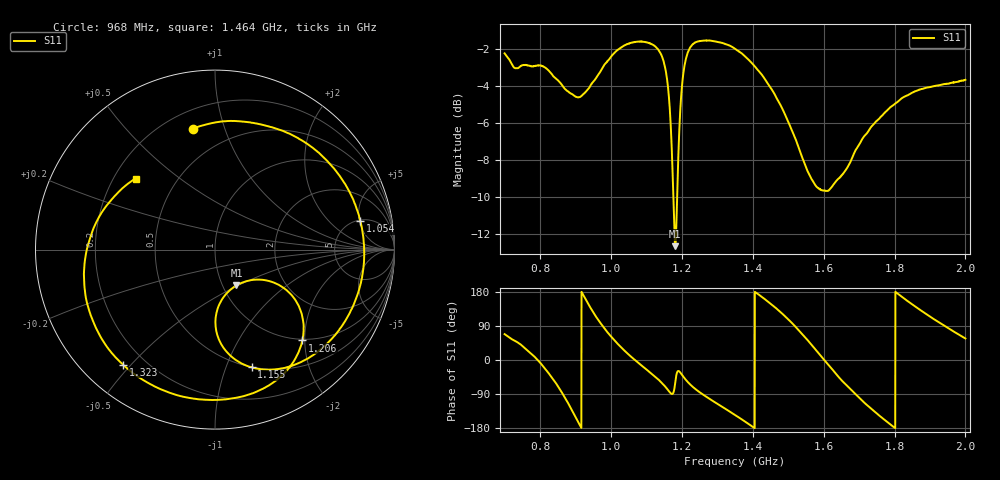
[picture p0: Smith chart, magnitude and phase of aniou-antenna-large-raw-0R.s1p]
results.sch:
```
<Qucs Schematic 0.0.20>
<Properties>
  <View=-622,-140,1389,944,0.909091,349,0>
  <Grid=10,10,1>
  <DataSet=template.dat>
  <DataDisplay=template.dpl>
  <OpenDisplay=1>
  <Script=template.m>
  <RunScript=0>
  <showFrame=0>
  <FrameText0=Title>
  <FrameText1=Drawn By:>
  <FrameText2=Date:>
  <FrameText3=Revision:>
</Properties>
<Symbol>
</Symbol>
<Components>
<GND * 5 610 330 0 0 0 0>
<Eqn Eqn1 1 50 410 -31 15 0 0 "S11_dB=dB(S[1,1])" 1 "yes" 0>
<GND * 5 320 250 0 0 0 0>
<GND * 5 240 270 0 0 0 0>
<GND * 5 420 300 0 0 0 0>
<GND * 5 210 300 0 0 0 0>
<.SP SP1 1 10 10 0 63 0 0 "lin" 1 "750 MHz" 1 "2 GHz" 1 "1000" 1 "no" 0 "1" 0 "2" 0 "no" 0 "no" 0>
<GND * 5 450 270 0 0 0 0>
<Pac P1 1 -90 270 18 -26 0 1 "1" 1 "50 Ohm" 1 "0 dBm" 0 "1 GHz" 0 "26.85" 0>
<GND * 5 -90 300 0 0 0 0>
<GND * 5 100 250 0 0 0 0>
<SPICE TEMPLATE_6_0 1 100 220 -26 -112 0 0 "/home/zamza/SharedFolder/qucs-discrete-matching/components/L/S-Parameter_7447840027 (rev20a).s2p" 1 "_net1,_net2" 0 "yes" 0 "none" 0>
<SPfile TEMPLATE_5_0 1 210 270 -812 -26 0 1 "/home/zamza/SharedFolder/qucs-discrete-matching/components/L/S-Parameter_7447840027 (rev20a).s2p" 1 "rectangular" 0 "linear" 0 "open" 0 "2" 0>
<SPICE TEMPLATE_4_0 1 320 220 -26 -112 0 0 "/home/zamza/SharedFolder/qucs-discrete-matching/components/L/S-Parameter_7447840027 (rev20a).s2p" 1 "_net1,_net2" 0 "yes" 0 "none" 0>
<SPfile TEMPLATE_3_0 1 420 270 -812 -26 0 1 "/home/zamza/SharedFolder/qucs-discrete-matching/components/L/S-Parameter_7447840110 (rev20a).s2p" 1 "rectangular" 0 "linear" 0 "open" 0 "2" 0>
<SPfile X1_0 1 610 220 -26 -59 0 0 "/home/zamza/SharedFolder/qucs-discrete-matching/antenna_data/aniou-antenna-large-raw-0R.s1p" 1 "rectangular" 0 "linear" 0 "open" 0 "1" 0>
<GND * 5 610 680 0 0 0 0>
<Eqn Eqn2 1 50 760 -31 15 0 0 "S22_dB=dB(S[2,2])" 1 "yes" 0>
<GND * 5 320 600 0 0 0 0>
<GND * 5 240 620 0 0 0 0>
<GND * 5 420 650 0 0 0 0>
<GND * 5 210 650 0 0 0 0>
<GND * 5 450 620 0 0 0 0>
<Pac P2 1 -90 620 18 -26 0 1 "2" 1 "50 Ohm" 1 "0 dBm" 0 "1 GHz" 0 "26.85" 0>
<GND * 5 -90 650 0 0 0 0>
<GND * 5 100 600 0 0 0 0>
<SPICE TEMPLATE_6_1 1 100 570 -26 -112 0 0 "/home/zamza/SharedFolder/qucs-discrete-matching/components/L/S-Parameter_7447840027 (rev20a).s2p" 1 "_net1,_net2" 0 "yes" 0 "none" 0>
<SPfile TEMPLATE_5_1 1 210 620 -812 -26 0 1 "/home/zamza/SharedFolder/qucs-discrete-matching/components/L/S-Parameter_7447840027 (rev20a).s2p" 1 "rectangular" 0 "linear" 0 "open" 0 "2" 0>
<SPICE TEMPLATE_4_1 1 320 570 -26 -112 0 0 "/home/zamza/SharedFolder/qucs-discrete-matching/components/L/S-Parameter_7447840027 (rev20a).s2p" 1 "_net1,_net2" 0 "yes" 0 "none" 0>
<SPfile TEMPLATE_3_1 1 420 620 -812 -26 0 1 "/home/zamza/SharedFolder/qucs-discrete-matching/components/L/S-Parameter_7447840115 (rev20a).s2p" 1 "rectangular" 0 "linear" 0 "open" 0 "2" 0>
<SPfile X1_1 1 610 570 -26 -59 0 0 "/home/zamza/SharedFolder/qucs-discrete-matching/antenna_data/aniou-antenna-large-raw-0R.s1p" 1 "rectangular" 0 "linear" 0 "open" 0 "1" 0>
<GND * 5 610 1030 0 0 0 0>
<Eqn Eqn3 1 50 1110 -31 15 0 0 "S33_dB=dB(S[3,3])" 1 "yes" 0>
<GND * 5 320 950 0 0 0 0>
<GND * 5 240 970 0 0 0 0>
<GND * 5 420 1000 0 0 0 0>
<GND * 5 210 1000 0 0 0 0>
<GND * 5 450 970 0 0 0 0>
<Pac P3 1 -90 970 18 -26 0 1 "3" 1 "50 Ohm" 1 "0 dBm" 0 "1 GHz" 0 "26.85" 0>
<GND * 5 -90 1000 0 0 0 0>
<GND * 5 100 950 0 0 0 0>
<SPICE TEMPLATE_6_2 1 100 920 -26 -112 0 0 "/home/zamza/SharedFolder/qucs-discrete-matching/components/L/S-Parameter_7447840027 (rev20a).s2p" 1 "_net1,_net2" 0 "yes" 0 "none" 0>
<SPfile TEMPLATE_5_2 1 210 970 -812 -26 0 1 "/home/zamza/SharedFolder/qucs-discrete-matching/components/L/S-Parameter_7447840027 (rev20a).s2p" 1 "rectangular" 0 "linear" 0 "open" 0 "2" 0>
<SPICE TEMPLATE_4_2 1 320 920 -26 -112 0 0 "/home/zamza/SharedFolder/qucs-discrete-matching/components/L/S-Parameter_7447840027 (rev20a).s2p" 1 "_net1,_net2" 0 "yes" 0 "none" 0>
<SPfile TEMPLATE_3_2 1 420 970 -812 -26 0 1 "/home/zamza/SharedFolder/qucs-discrete-matching/components/L/S-Parameter_7447840027 (rev20a).s2p" 1 "rectangular" 0 "linear" 0 "open" 0 "2" 0>
<SPfile X1_2 1 610 920 -26 -59 0 0 "/home/zamza/SharedFolder/qucs-discrete-matching/antenna_data/aniou-antenna-large-raw-0R.s1p" 1 "rectangular" 0 "linear" 0 "open" 0 "1" 0>
<GND * 5 610 1380 0 0 0 0>
<Eqn Eqn4 1 50 1460 -31 15 0 0 "S44_dB=dB(S[4,4])" 1 "yes" 0>
<GND * 5 320 1300 0 0 0 0>
<GND * 5 240 1320 0 0 0 0>
<GND * 5 420 1350 0 0 0 0>
<GND * 5 210 1350 0 0 0 0>
<GND * 5 450 1320 0 0 0 0>
<Pac P4 1 -90 1320 18 -26 0 1 "4" 1 "50 Ohm" 1 "0 dBm" 0 "1 GHz" 0 "26.85" 0>
<GND * 5 -90 1350 0 0 0 0>
<GND * 5 100 1300 0 0 0 0>
<SPICE TEMPLATE_6_3 1 100 1270 -26 -112 0 0 "/home/zamza/SharedFolder/qucs-discrete-matching/components/L/S-Parameter_7447840027 (rev20a).s2p" 1 "_net1,_net2" 0 "yes" 0 "none" 0>
<SPfile TEMPLATE_5_3 1 210 1320 -812 -26 0 1 "/home/zamza/SharedFolder/qucs-discrete-matching/components/L/S-Parameter_7447840027 (rev20a).s2p" 1 "rectangular" 0 "linear" 0 "open" 0 "2" 0>
<SPICE TEMPLATE_4_3 1 320 1270 -26 -112 0 0 "/home/zamza/SharedFolder/qucs-discrete-matching/components/L/S-Parameter_7447840027 (rev20a).s2p" 1 "_net1,_net2" 0 "yes" 0 "none" 0>
<SPfile TEMPLATE_3_3 1 420 1320 -812 -26 0 1 "/home/zamza/SharedFolder/qucs-discrete-matching/components/L/S-Parameter_7447840118 (rev20a).s2p" 1 "rectangular" 0 "linear" 0 "open" 0 "2" 0>
<SPfile X1_3 1 610 1270 -26 -59 0 0 "/home/zamza/SharedFolder/qucs-discrete-matching/antenna_data/aniou-antenna-large-raw-0R.s1p" 1 "rectangular" 0 "linear" 0 "open" 0 "1" 0>
<GND * 5 610 1730 0 0 0 0>
<Eqn Eqn5 1 50 1810 -31 15 0 0 "S55_dB=dB(S[5,5])" 1 "yes" 0>
<GND * 5 320 1650 0 0 0 0>
<GND * 5 240 1670 0 0 0 0>
<GND * 5 420 1700 0 0 0 0>
<GND * 5 210 1700 0 0 0 0>
<GND * 5 450 1670 0 0 0 0>
<Pac P5 1 -90 1670 18 -26 0 1 "5" 1 "50 Ohm" 1 "0 dBm" 0 "1 GHz" 0 "26.85" 0>
<GND * 5 -90 1700 0 0 0 0>
<GND * 5 100 1650 0 0 0 0>
<SPICE TEMPLATE_6_4 1 100 1620 -26 -112 0 0 "/home/zamza/SharedFolder/qucs-discrete-matching/components/L/S-Parameter_7447840027 (rev20a).s2p" 1 "_net1,_net2" 0 "yes" 0 "none" 0>
<SPfile TEMPLATE_5_4 1 210 1670 -812 -26 0 1 "/home/zamza/SharedFolder/qucs-discrete-matching/components/L/S-Parameter_7447840027 (rev20a).s2p" 1 "rectangular" 0 "linear" 0 "open" 0 "2" 0>
<SPICE TEMPLATE_4_4 1 320 1620 -26 -112 0 0 "/home/zamza/SharedFolder/qucs-discrete-matching/components/L/S-Parameter_7447840027 (rev20a).s2p" 1 "_net1,_net2" 0 "yes" 0 "none" 0>
<SPfile TEMPLATE_3_4 1 420 1670 -812 -26 0 1 "/home/zamza/SharedFolder/qucs-discrete-matching/components/L/S-Parameter_7447840010 (rev20a).s2p" 1 "rectangular" 0 "linear" 0 "open" 0 "2" 0>
<SPfile X1_4 1 610 1620 -26 -59 0 0 "/home/zamza/SharedFolder/qucs-discrete-matching/antenna_data/aniou-antenna-large-raw-0R.s1p" 1 "rectangular" 0 "linear" 0 "open" 0 "1" 0>
</Components>
<Wires>
<350 220 420 220 "" 0 0 0 "">
<210 220 290 220 "" 0 0 0 "">
<420 220 580 220 "" 0 0 0 "">
<610 250 610 330 "" 0 0 0 "">
<210 220 210 240 "" 0 0 0 "">
<420 220 420 240 "" 0 0 0 "">
<130 220 210 220 "" 0 0 0 "">
<-90 220 70 220 "" 0 0 0 "">
<-90 220 -90 240 "" 0 0 0 "">
<350 570 420 570 "" 0 0 0 "">
<210 570 290 570 "" 0 0 0 "">
<420 570 580 570 "" 0 0 0 "">
<610 600 610 680 "" 0 0 0 "">
<210 570 210 590 "" 0 0 0 "">
<420 570 420 590 "" 0 0 0 "">
<130 570 210 570 "" 0 0 0 "">
<-90 570 70 570 "" 0 0 0 "">
<-90 570 -90 590 "" 0 0 0 "">
<350 920 420 920 "" 0 0 0 "">
<210 920 290 920 "" 0 0 0 "">
<420 920 580 920 "" 0 0 0 "">
<610 950 610 1030 "" 0 0 0 "">
<210 920 210 940 "" 0 0 0 "">
<420 920 420 940 "" 0 0 0 "">
<130 920 210 920 "" 0 0 0 "">
<-90 920 70 920 "" 0 0 0 "">
<-90 920 -90 940 "" 0 0 0 "">
<350 1270 420 1270 "" 0 0 0 "">
<210 1270 290 1270 "" 0 0 0 "">
<420 1270 580 1270 "" 0 0 0 "">
<610 1300 610 1380 "" 0 0 0 "">
<210 1270 210 1290 "" 0 0 0 "">
<420 1270 420 1290 "" 0 0 0 "">
<130 1270 210 1270 "" 0 0 0 "">
<-90 1270 70 1270 "" 0 0 0 "">
<-90 1270 -90 1290 "" 0 0 0 "">
<350 1620 420 1620 "" 0 0 0 "">
<210 1620 290 1620 "" 0 0 0 "">
<420 1620 580 1620 "" 0 0 0 "">
<610 1650 610 1730 "" 0 0 0 "">
<210 1620 210 1640 "" 0 0 0 "">
<420 1620 420 1640 "" 0 0 0 "">
<130 1620 210 1620 "" 0 0 0 "">
<-90 1620 70 1620 "" 0 0 0 "">
<-90 1620 -90 1640 "" 0 0 0 "">
</Wires>
<Diagrams>
  <Rect 850 682 444 322 3 #c0c0c0 1 00 1 0 0.2 1 1 -0.1 0.5 1.1 1 -0.1 0.5 1.1 315 0 225 "" "" "" "">
	<"S11_dB" #0000ff 0 3 0 0 0>
	  <Mkr 9.6021e+08 148 -401 3 0 0>
	  <Mkr 7.9004e+08 -76 -396 3 0 0>
	  <Mkr 1.70846e+09 435 -447 3 0 0>
	  <Mkr 1.87863e+09 468 -377 3 0 0>
  </Rect>
</Diagrams>
<Paintings>
  <Text 190 0 24 #000000 0 "Matching network template">
  <Text 190 40 12 #000000 0 "Using components:\nK1: /.../....s1p\nK2: /.../....sp\nK3: /.../....s1p">
</Paintings>
```
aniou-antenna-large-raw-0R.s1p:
!Keysight Technologies,P9371A,MY57212015,Z.15.41.75
!Date: Wednesday, May 04, 2022 11:18:10
!Correction: S11(C  1-Port  )
!S1P File: Measurement: S11:
# Hz S  dB  R 50
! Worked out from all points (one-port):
!   2601 points, 700 MHz to 2 GHz, reference 50 ohm
!   lowest |S11| = -12.7 dB at 1.181 GHz (marker M1), VSWR 1.61, Z = 58 - j24.5 ohm
!   |S11| at or under -10 dB: 1.176 GHz to 1.187 GHz (10.77 MHz wide, 0.912 % of centre)
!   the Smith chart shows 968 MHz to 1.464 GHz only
!   S11 on the Smith chart (normalised r, x): 968 MHz: 0.31, +0.78; 1.054 GHz: 5.21, +5.17; 1.155 GHz: 0.50, -1.23; 1.206 GHz: 0.97, -1.95; 1.323 GHz: 0.12, -0.48; 1.464 GHz: 0.29, +0.35
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7e8  -2.22 68.2
8.6e8  -3.89 -83.4
9.68e8  -3.27 100.5
1.054e9  -1.67 11.1
1.1335e9  -2.02 -51.2
1.1555e9  -3.26 -72.8
1.1815e9  -12.67 -59.0
1.206e9  -3.07 -46.1
1.3225e9  -1.72 -128.6
1.464e9  -4.53 138.2
1.567e9  -9.06 39.3
1.7e9  -7.18 -99.3
1.816e9  -4.72 170.3
2e9  -3.66 56.8
